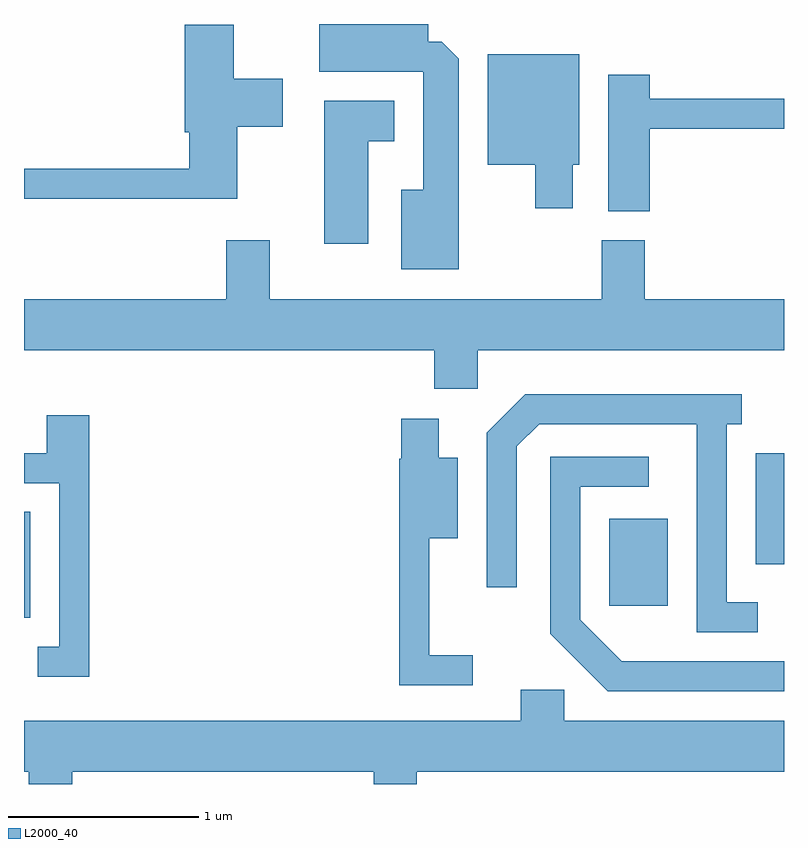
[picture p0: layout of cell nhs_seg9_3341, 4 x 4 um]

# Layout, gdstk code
import gdstk
lib = gdstk.Library(unit=1e-6, precision=1e-09)
def R(c, l, rs):  # rectangles x0, y0, x1, y1
    for r in rs: c.add(gdstk.rectangle(r[:2], r[2:], *l))
def P(c, l, *ps):  # polygons
    for p in ps: c.add(gdstk.Polygon(p, *l))
L2000_40 = (2000, 40)

nhs_seg9_3341 = lib.new_cell('nhs_seg9_3341')
R(nhs_seg9_3341, L2000_40, [(283.611,1979.306,283.644,1979.864), (286.691,1979.371,286.999,1979.829), (287.461,1979.588,287.611,1980.174)])
P(nhs_seg9_3341, L2000_40, [(285.899,1982.249),(285.809,1982.339),(285.739,1982.339),(285.739,1982.432),(285.166,1982.432),(285.166,1982.181),(285.711,1982.181),(285.711,1981.559),(285.596,1981.559),(285.596,1981.141),(285.899,1981.141)],
  [(284.734,1981.891),(284.974,1981.891),(284.974,1982.144),(284.714,1982.144),(284.714,1982.429),(284.456,1982.429),(284.456,1981.861),(284.481,1981.861),(284.481,1981.669),(283.611,1981.669),(283.611,1981.511),(284.734,1981.511)],
  [(286.499,1981.691),(286.534,1981.691),(286.534,1982.274),(286.051,1982.274),(286.051,1981.691),(286.301,1981.691),(286.301,1981.461),(286.499,1981.461)],
  [(286.904,1981.881),(287.611,1981.881),(287.611,1982.039),(286.904,1982.039),(286.904,1982.164),(286.686,1982.164),(286.686,1981.446),(286.904,1981.446)],
  [(285.424,1981.816),(285.559,1981.816),(285.559,1982.029),(285.191,1982.029),(285.191,1981.276),(285.424,1981.276)],
  [(285.999,1980.716),(287.611,1980.716),(287.611,1980.984),(286.879,1980.984),(286.879,1981.294),(286.651,1981.294),(286.651,1980.984),(284.904,1980.984),(284.904,1981.294),(284.676,1981.294),(284.676,1980.984),(283.611,1980.984),(283.611,1980.716),(285.771,1980.716),(285.771,1980.511),(285.999,1980.511)],
  [(287.473,1979.389),(287.309,1979.389),(287.309,1980.326),(287.388,1980.326),(287.388,1980.484),(286.249,1980.484),(286.046,1980.282),(286.046,1979.468),(286.204,1979.468),(286.204,1980.209),(286.322,1980.326),(287.151,1980.326),(287.151,1979.231),(287.473,1979.231)],
  [(283.954,1980.374),(283.731,1980.374),(283.731,1980.174),(283.611,1980.174),(283.611,1980.016),(283.796,1980.016),(283.796,1979.154),(283.683,1979.154),(283.683,1978.996),(283.954,1978.996)],
  [(285.973,1979.109),(285.744,1979.109),(285.744,1979.726),(285.894,1979.726),(285.894,1980.149),(285.794,1980.149),(285.794,1980.354),(285.596,1980.354),(285.596,1980.145),(285.586,1980.145),(285.586,1978.951),(285.973,1978.951)],
  [(287.611,1979.079),(286.757,1979.079),(286.539,1979.297),(286.539,1979.996),(286.898,1979.996),(286.898,1980.154),(286.381,1980.154),(286.381,1979.224),(286.684,1978.921),(287.611,1978.921)],
  [(283.611,1978.496),(283.636,1978.496),(283.636,1978.432),(283.864,1978.432),(283.864,1978.496),(285.451,1978.496),(285.451,1978.432),(285.679,1978.432),(285.679,1978.496),(287.611,1978.496),(287.611,1978.764),(286.454,1978.764),(286.454,1978.929),(286.226,1978.929),(286.226,1978.764),(283.611,1978.764)])

lib.write_gds('nhs_seg9_3341.gds')
